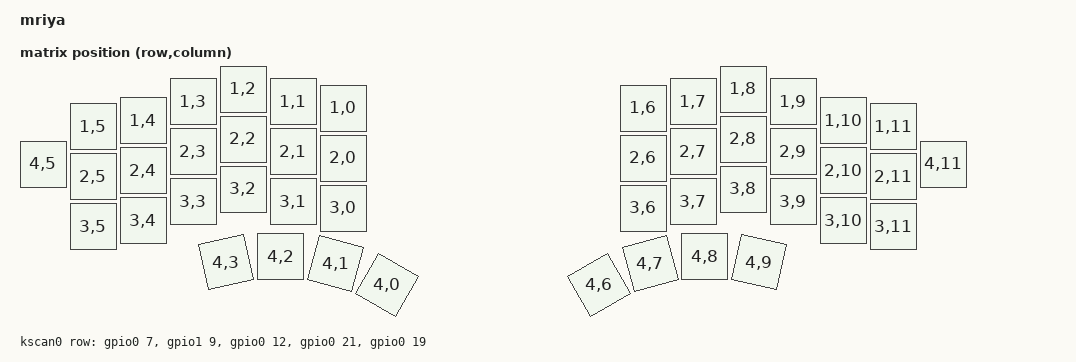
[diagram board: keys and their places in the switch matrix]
/*
 * Copyright (c) 2023 Andrei Gaevskii
 *
 * SPDX-License-Identifier: MIT
 */

/dts-v1/;
#include <nordic/nrf52840_qiaa.dtsi>

#include <dt-bindings/zmk/matrix_transform.h>
#include <physical_layouts.dtsi>

/ {
    model = "mriya";
    compatible = "mriya";

    chosen {
        zephyr,code-partition = &code_partition;
        zephyr,sram = &sram0;
        zephyr,flash = &flash0;
        zmk,kscan = &kscan0;
        zmk,battery = &vbatt;
        zmk,physical-layout = &physical_layout0;
    };

	default_transform: keymap_transform_0 {
		compatible = "zmk,matrix-transform";
		columns = <12>;
		rows = <5>;
		map = <
            RC(4,5) RC(1,5) RC(1,4) RC(1,3) RC(1,2) RC(1,1) RC(1,0)  RC(1,6) RC(1,7) RC(1,8) RC(1,9) RC(1,10) RC(1,11) RC(4,11)
                    RC(2,5) RC(2,4) RC(2,3) RC(2,2) RC(2,1) RC(2,0)  RC(2,6) RC(2,7) RC(2,8) RC(2,9) RC(2,10) RC(2,11)
                    RC(3,5) RC(3,4) RC(3,3) RC(3,2) RC(3,1) RC(3,0)  RC(3,6) RC(3,7) RC(3,8) RC(3,9) RC(3,10) RC(3,11)
                                    RC(4,3) RC(4,2) RC(4,1) RC(4,0)  RC(4,6) RC(4,7) RC(4,8) RC(4,9)
		>;
	};

    physical_layout0: physical_layout_0 {
        compatible = "zmk,physical-layout";
        display-name = "Default";
        kscan = <&kscan0>;
		transform = <&matrix_transform0>;
        keys  //                     w   h    x    y     rot    rx    ry
            = <&key_physical_attrs 100 100    0  250       0     0     0>
            , <&key_physical_attrs 100 100  100  175       0     0     0>
            , <&key_physical_attrs 100 100  200  163       0     0     0>
            , <&key_physical_attrs 100 100  300  125       0     0     0>
            , <&key_physical_attrs 100 100  400  100       0     0     0>
            , <&key_physical_attrs 100 100  500  125       0     0     0>
            , <&key_physical_attrs 100 100  600  138       0     0     0>
            , <&key_physical_attrs 100 100 1200  138       0     0     0>
            , <&key_physical_attrs 100 100 1300  125       0     0     0>
            , <&key_physical_attrs 100 100 1400  100       0     0     0>
            , <&key_physical_attrs 100 100 1500  125       0     0     0>
            , <&key_physical_attrs 100 100 1600  163       0     0     0>
            , <&key_physical_attrs 100 100 1700  175       0     0     0>
            , <&key_physical_attrs 100 100 1800  250       0     0     0>
            , <&key_physical_attrs 100 100  100  275       0     0     0>
            , <&key_physical_attrs 100 100  200  263       0     0     0>
            , <&key_physical_attrs 100 100  300  225       0     0     0>
            , <&key_physical_attrs 100 100  400  200       0     0     0>
            , <&key_physical_attrs 100 100  500  225       0     0     0>
            , <&key_physical_attrs 100 100  600  238       0     0     0>
            , <&key_physical_attrs 100 100 1200  238       0     0     0>
            , <&key_physical_attrs 100 100 1300  225       0     0     0>
            , <&key_physical_attrs 100 100 1400  200       0     0     0>
            , <&key_physical_attrs 100 100 1500  225       0     0     0>
            , <&key_physical_attrs 100 100 1600  263       0     0     0>
            , <&key_physical_attrs 100 100 1700  275       0     0     0>
            , <&key_physical_attrs 100 100  100  375       0     0     0>
            , <&key_physical_attrs 100 100  200  363       0     0     0>
            , <&key_physical_attrs 100 100  300  325       0     0     0>
            , <&key_physical_attrs 100 100  400  300       0     0     0>
            , <&key_physical_attrs 100 100  500  325       0     0     0>
            , <&key_physical_attrs 100 100  600  338       0     0     0>
            , <&key_physical_attrs 100 100 1200  338       0     0     0>
            , <&key_physical_attrs 100 100 1300  325       0     0     0>
            , <&key_physical_attrs 100 100 1400  300       0     0     0>
            , <&key_physical_attrs 100 100 1500  325       0     0     0>
            , <&key_physical_attrs 100 100 1600  363       0     0     0>
            , <&key_physical_attrs 100 100 1700  375       0     0     0>
            , <&key_physical_attrs 100 100  375  435 (-1200)   475   535>
            , <&key_physical_attrs 100 100  475  435       0     0     0>
            , <&key_physical_attrs 100 100  600  438    1500   600   438>
            , <&key_physical_attrs 100 100  670  460    3000   670   560>
            , <&key_physical_attrs 100 100 1130  460 (-3000)  1230   560>
            , <&key_physical_attrs 100 100 1200  438 (-1500)  1300   438>
            , <&key_physical_attrs 100 100 1323  435       0     0     0>
            , <&key_physical_attrs 100 100 1423  435    1200  1423   535>
            ;
    };

	kscan0: kscan {
		compatible = "zmk,kscan-gpio-matrix";
		label = "KSCAN";

		diode-direction = "col2row";
		row-gpios
			= <&gpio0  7 (GPIO_ACTIVE_HIGH | GPIO_PULL_DOWN)>
			, <&gpio1  9 (GPIO_ACTIVE_HIGH | GPIO_PULL_DOWN)>
			, <&gpio0 12 (GPIO_ACTIVE_HIGH | GPIO_PULL_DOWN)>
			, <&gpio0 21 (GPIO_ACTIVE_HIGH | GPIO_PULL_DOWN)>
			, <&gpio0 19 (GPIO_ACTIVE_HIGH | GPIO_PULL_DOWN)>
			;
	};

	leds {
		compatible = "gpio-leds";
		blue_led: led_0 {
			gpios = <&gpio0 23 GPIO_ACTIVE_HIGH>;
			label = "Blue LED";
		};
	};

	vbatt: vbatt {
		compatible = "zmk,battery-voltage-divider";
		label = "VBATT";
		io-channels = <&adc 0>;
		output-ohms = <2000000>;
		full-ohms = <(2000000 + 806000)>;
	};
};

&adc {
	status = "okay";
};

&gpiote {
	status = "okay";
};

&gpio0 {
	status = "okay";
};

&gpio1 {
	status = "okay";
};

&usbd {
    status = "okay";
    cdc_acm_uart: cdc_acm_uart {
        compatible = "zephyr,cdc-acm-uart";
        label = "CDC_ACM_0";
    };
};

&flash0 {
	/*
	 * For more information, see:
	 * http://docs.zephyrproject.org/latest/devices/dts/flash_partitions.html
	 */
	partitions {
		compatible = "fixed-partitions";
		#address-cells = <1>;
		#size-cells = <1>;

		sd_partition: partition@0 {
			label = "softdevice";
			reg = <0x00000000 0x00026000>;
		};
		code_partition: partition@26000 {
			label = "code_partition";
			reg = <0x00026000 0x000c6000>;
		};

		/*
		 * The flash starting at 0x000ec000 and ending at
		 * 0x000f3fff is reserved for use by the application.
		 */

		/*
		 * Storage partition will be used by FCB/LittleFS/NVS
		 * if enabled.
		 */
		storage_partition: partition@ec000 {
			label = "storage";
			reg = <0x000ec000 0x00008000>;
		};

		boot_partition: partition@f4000 {
			label = "adafruit_boot";
			reg = <0x000f4000 0x0000c000>;
		};
	};
};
